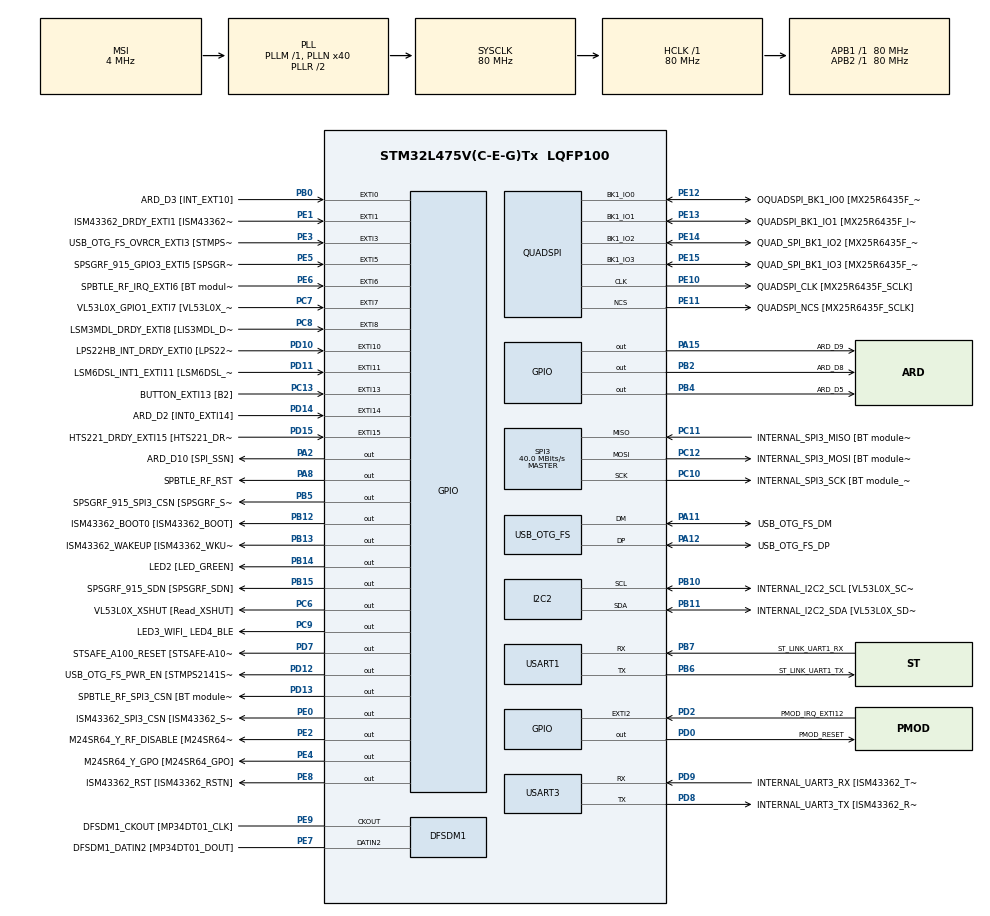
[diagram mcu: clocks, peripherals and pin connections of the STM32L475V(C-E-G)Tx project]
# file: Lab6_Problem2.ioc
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FREERTOS.Queues01=dmaQueue,512,uint16_t,0,Dynamic,NULL,NULL
FREERTOS.Tasks01=defaultTask,0,128,StartDefaultTask,Default,NULL,Dynamic,NULL,NULL;TaskPrint,2,512,StartTaskPrint,Default,NULL,Dynamic,NULL,NULL
Mcu.Family=STM32L4
Mcu.Name=STM32L475V(C-E-G)Tx
Mcu.Package=LQFP100
NVIC.EXTI15_10_IRQn=true\:5\:0\:false\:false\:true\:true\:true\:true\:true
NVIC.EXTI9_5_IRQn=true\:5\:0\:false\:false\:true\:true\:true\:true\:true
NVIC.PriorityGroup=NVIC_PRIORITYGROUP_4
PA0.GPIO_Label=ARD_D1 [UART4_TX]
PA0.Signal=UART4_TX
PA1.GPIO_Label=ARD_D0 [UART4_RX]
PA1.Signal=UART4_RX
PA10.GPIO_Label=USB_OTG_FS_ID
PA10.Signal=USB_OTG_FS_ID
PA11.GPIO_Label=USB_OTG_FS_DM
PA11.Mode=Device_Only
PA11.Signal=USB_OTG_FS_DM
PA12.GPIO_Label=USB_OTG_FS_DP
PA12.Mode=Device_Only
PA12.Signal=USB_OTG_FS_DP
PA13\ (JTMS-SWDIO).GPIO_Label=SYS_JTMS_SWDIO
PA13\ (JTMS-SWDIO).Mode=Serial_Wire
PA13\ (JTMS-SWDIO).Signal=SYS_JTMS-SWDIO
PA14\ (JTCK-SWCLK).GPIO_Label=SYS_JTCK_SWCLK
PA14\ (JTCK-SWCLK).Mode=Serial_Wire
PA14\ (JTCK-SWCLK).Signal=SYS_JTCK-SWCLK
PA15\ (JTDI).GPIO_Label=ARD_D9
PA15\ (JTDI).Signal=GPIO_Output
PA2.GPIO_Label=ARD_D10 [SPI_SSN]
PA2.Signal=GPIO_Output
PA3.GPIO_Label=ARD_D4
PA3.Signal=S_TIM2_CH4
PA4.GPIO_Label=ARD_D7
PA4.Signal=ADCx_IN9
PA5.GPIO_Label=ARD_D13 [SPI1_SCK]
PA5.Signal=SPI1_SCK
PA6.GPIO_Label=ARD_D12 [SPI1_MISO]
PA6.Signal=SPI1_MISO
PA7.GPIO_Label=ARD_D11 [SPI1_MOSI]
PA7.Signal=SPI1_MOSI
PA8.GPIO_Label=SPBTLE_RF_RST
PA8.Signal=GPIO_Output
PA9.GPIO_Label=USB_OTG_FS_VBUS [STMPS2141STR_OUT]
PA9.Signal=USB_OTG_FS_VBUS
PB0.GPIO_Label=ARD_D3 [INT_EXT10]
PB0.Signal=GPXTI0
PB1.GPIO_Label=ARD_D6 [ADC1_IN6]
PB1.Signal=ADCx_IN16
PB10.GPIO_Label=INTERNAL_I2C2_SCL [VL53L0X_SCL]
PB10.GPIO_Pu=GPIO_PULLUP
PB10.Mode=I2C
PB10.Signal=I2C2_SCL
PB11.GPIO_Label=INTERNAL_I2C2_SDA [VL53L0X_SDA]
PB11.GPIO_Pu=GPIO_PULLUP
PB11.Mode=I2C
PB11.Signal=I2C2_SDA
PB12.GPIO_Label=ISM43362_BOOT0 [ISM43362_BOOT]
PB12.Signal=GPIO_Output
PB13.GPIO_Label=ISM43362_WAKEUP [ISM43362_WKUP]
PB13.Signal=GPIO_Output
PB14.GPIO_Label=LED2 [LED_GREEN]
PB14.Signal=GPIO_Output
PB15.GPIO_Label=SPSGRF_915_SDN [SPSGRF_SDN]
PB15.Signal=GPIO_Output
PB2.GPIO_Label=ARD_D8
PB2.Signal=GPIO_Output
PB3\ (JTDO-TRACESWO).GPIO_Label=SYS_JTD0_SWO
PB3\ (JTDO-TRACESWO).Signal=SYS_JTDO-SWO
PB4\ (NJTRST).GPIO_Label=ARD_D5
PB4\ (NJTRST).Signal=GPIO_Output
PB5.GPIO_Label=SPSGRF_915_SPI3_CSN [SPSGRF_SPI_CS]
PB5.PinState=GPIO_PIN_SET
PB5.Signal=GPIO_Output
PB6.GPIO_Label=ST_LINK_UART1_TX
PB6.Mode=Asynchronous
PB6.Signal=USART1_TX
PB7.GPIO_Label=ST_LINK_UART1_RX
PB7.Mode=Asynchronous
PB7.Signal=USART1_RX
PB8.GPIO_Label=ARD_D15 [I2C1_SCL]
PB8.Signal=I2C1_SCL
PB9.GPIO_Label=ARD_D14 [I2C1_SDA]
PB9.Signal=I2C1_SDA
PC0.GPIO_Label=ARD_A5 [ADC]
PC0.Signal=ADCx_IN1
PC1.GPIO_Label=ARD_A4 [ADC]
PC1.Signal=ADCx_IN2
PC10.GPIO_Label=INTERNAL_SPI3_SCK [BT module_SPI_SCLK] [ISM43362_SCK]
PC10.Mode=Full_Duplex_Master
PC10.Signal=SPI3_SCK
PC11.GPIO_Label=INTERNAL_SPI3_MISO [BT module_SPI_MISO] [ISM43362_MISO]
PC11.Mode=Full_Duplex_Master
PC11.Signal=SPI3_MISO
PC12.GPIO_Label=INTERNAL_SPI3_MOSI [BT module_SPI_MOSI] [ISM43362_MOSI]
PC12.Mode=Full_Duplex_Master
PC12.Signal=SPI3_MOSI
PC13.GPIO_Label=BUTTON_EXTI13 [B2]
PC13.GPIO_ModeDefaultEXTI=GPIO_MODE_IT_FALLING
PC13.Signal=GPXTI13
PC14-OSC32_IN\ (PC14).Mode=LSE-External-Oscillator
PC14-OSC32_IN\ (PC14).Signal=RCC_OSC32_IN
PC15-OSC32_OUT\ (PC15).Mode=LSE-External-Oscillator
PC15-OSC32_OUT\ (PC15).Signal=RCC_OSC32_OUT
PC2.GPIO_Label=ARD_A3 [ADC]
PC2.Signal=ADCx_IN3
PC3.GPIO_Label=ARD_A2 [ADC]
PC3.Signal=ADCx_IN4
PC4.GPIO_Label=ARD_A1 [ADC]
PC4.Signal=ADCx_IN13
PC5.GPIO_Label=ARD_A0 [ADC]
PC5.Signal=ADCx_IN14
PC6.GPIO_Label=VL53L0X_XSHUT [Read_XSHUT]
PC6.Signal=GPIO_Output
PC7.GPIO_Label=VL53L0X_GPIO1_EXTI7 [VL53L0X_GPIO1]
PC7.Signal=GPXTI7
PC8.GPIO_Label=LSM3MDL_DRDY_EXTI8 [LIS3MDL_DRDY]
PC8.Signal=GPXTI8
PC9.GPIO_Label=LED3_WIFI_ LED4_BLE
PC9.Signal=GPIO_Output
PD0.GPIO_Label=PMOD_RESET
PD0.Signal=GPIO_Output
PD1.GPIO_Label=PMOD_SPI2_SCK
PD1.Signal=SPI2_SCK
PD10.GPIO_Label=LPS22HB_INT_DRDY_EXTI0 [LPS22HB_INT_DRDY] 
PD10.Signal=GPXTI10
PD11.GPIO_Label=LSM6DSL_INT1_EXTI11 [LSM6DSL_INT1]
PD11.Signal=GPXTI11
PD12.GPIO_Label=USB_OTG_FS_PWR_EN [STMPS2141STR_EN]
PD12.Signal=GPIO_Output
PD13.GPIO_Label=SPBTLE_RF_SPI3_CSN [BT module_SPI_CS]
PD13.PinState=GPIO_PIN_SET
PD13.Signal=GPIO_Output
PD14.GPIO_Label=ARD_D2 [INT0_EXTI14]
PD14.Signal=GPXTI14
PD15.GPIO_Label=HTS221_DRDY_EXTI15 [HTS221_DRDY]
PD15.Signal=GPXTI15
PD2.GPIO_Label=PMOD_IRQ_EXTI12
PD2.Signal=GPXTI2
PD3.GPIO_Label=PMOD_UART2_CTS
PD3.Signal=USART2_CTS
PD4.GPIO_Label=PMOD_UART2_RTS
PD4.Signal=USART2_RTS
PD5.GPIO_Label=PMOD_UART2_TX
PD5.Signal=USART2_TX
PD6.GPIO_Label=PMOD_UART2_RX
PD6.Signal=USART2_RX
PD7.GPIO_Label=STSAFE_A100_RESET [STSAFE-A100_RESET]
PD7.Signal=GPIO_Output
PD8.GPIO_Label=INTERNAL_UART3_TX [ISM43362_RX]
PD8.Mode=Asynchronous
PD8.Signal=USART3_TX
PD9.GPIO_Label=INTERNAL_UART3_RX [ISM43362_TX]
PD9.Mode=Asynchronous
PD9.Signal=USART3_RX
PE0.GPIO_Label=ISM43362_SPI3_CSN [ISM43362_SSN]
PE0.PinState=GPIO_PIN_SET
PE0.Signal=GPIO_Output
PE1.GPIO_Label=ISM43362_DRDY_EXTI1 [ISM43362_DATARDY]
PE1.Signal=GPXTI1
PE10.GPIO_Label=QUADSPI_CLK [MX25R6435F_SCLK]
PE10.Mode=Single Bank
PE10.Signal=QUADSPI_CLK
PE11.GPIO_Label=QUADSPI_NCS [MX25R6435F_SCLK]
PE11.Mode=Single Bank
PE11.Signal=QUADSPI_NCS
PE12.GPIO_Label=OQUADSPI_BK1_IO0 [MX25R6435F_IO0]
PE12.Mode=Single Bank
PE12.Signal=QUADSPI_BK1_IO0
PE13.GPIO_Label=QUADSPI_BK1_IO1 [MX25R6435F_IO1]
PE13.Mode=Single Bank
PE13.Signal=QUADSPI_BK1_IO1
PE14.GPIO_Label=QUAD_SPI_BK1_IO2 [MX25R6435F_IO2]
PE14.Mode=Single Bank
PE14.Signal=QUADSPI_BK1_IO2
PE15.GPIO_Label=QUAD_SPI_BK1_IO3 [MX25R6435F_IO3]
PE15.Mode=Single Bank
PE15.Signal=QUADSPI_BK1_IO3
PE2.GPIO_Label=M24SR64_Y_RF_DISABLE [M24SR64_RFDIS]
PE2.Signal=GPIO_Output
PE3.GPIO_Label=USB_OTG_FS_OVRCR_EXTI3 [STMPS2141STR_FAULT]
PE3.Signal=GPXTI3
PE4.GPIO_Label=M24SR64_Y_GPO [M24SR64_GPO]
PE4.Signal=GPIO_Output
PE5.GPIO_Label=SPSGRF_915_GPIO3_EXTI5 [SPSGRF_GPIO_3]
PE5.Signal=GPXTI5
PE6.GPIO_Label=SPBTLE_RF_IRQ_EXTI6 [BT module_SPI_IRQ]
PE6.Signal=GPXTI6
PE7.GPIO_Label=DFSDM1_DATIN2 [MP34DT01_DOUT]
PE7.Signal=S_DATAIN2DFSDM1
PE8.GPIO_Label=ISM43362_RST [ISM43362_RSTN]
PE8.Signal=GPIO_Output
PE9.GPIO_Label=DFSDM1_CKOUT [MP34DT01_CLK]
PE9.Signal=S_CKOUTDFSDM1
ProjectManager.HeapSize=0x200
ProjectManager.StackSize=0x400
ProjectManager.TargetToolchain=STM32CubeIDE
QUADSPI.ClockPrescaler=2
QUADSPI.FifoThreshold=4
QUADSPI.FlashSize=23
QUADSPI.SampleShifting=QSPI_SAMPLE_SHIFTING_HALFCYCLE
RCC.ADCFreq_Value=48000000
RCC.AHBFreq_Value=80000000
RCC.APB1Freq_Value=80000000
RCC.APB1TimFreq_Value=80000000
RCC.APB2Freq_Value=80000000
RCC.APB2TimFreq_Value=80000000
RCC.CortexFreq_Value=80000000
RCC.HCLKFreq_Value=80000000
RCC.HSE_VALUE=8000000
RCC.HSI_VALUE=16000000
RCC.MSI_VALUE=4000000
RCC.PLLN=40
RCC.PLLSAI1N=24
RCC.SYSCLKFreq_VALUE=80000000
RCC.SYSCLKSource=RCC_SYSCLKSOURCE_PLLCLK
RCC.USBFreq_Value=48000000
RCC.VCOOutputFreq_Value=160000000
SH.ADCx_IN1.0=ADC1_IN1
SH.ADCx_IN13.0=ADC1_IN13
SH.ADCx_IN14.0=ADC1_IN14
SH.ADCx_IN16.0=ADC1_IN16
SH.ADCx_IN2.0=ADC1_IN2
SH.ADCx_IN3.0=ADC1_IN3
SH.ADCx_IN4.0=ADC1_IN4
SH.ADCx_IN9.0=ADC1_IN9
SH.S_CKOUTDFSDM1.0=DFSDM1_CKOUT,CKOUT
SH.S_CKOUTDFSDM1.1=DFSDM1_CKOUT,PDM_SPI_Input_from_ch12_and_Internal_Clock
SH.S_DATAIN2DFSDM1.0=DFSDM1_DATIN2,PDM_SPI_Input_from_ch12_and_Internal_Clock
SH.S_TIM2_CH4.0=TIM2_CH4
SPI3.CalculateBaudRate=40.0 MBits/s
SPI3.Direction=SPI_DIRECTION_2LINES
SPI3.Mode=SPI_MODE_MASTER
SPI3.VirtualType=VM_MASTER
USART1.VirtualMode-Asynchronous=VM_ASYNC
USART3.VirtualMode-Asynchronous=VM_ASYNC
USB_OTG_FS.VirtualMode=Device_Only
VP_FREERTOS_VS_CMSIS_V1.Mode=CMSIS_V1
board=B-L475E-IOT01A1

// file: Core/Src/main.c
/* USER CODE BEGIN Header */
/**
  ******************************************************************************
  * @file           : main.c
  * @brief          : Main program body
  ******************************************************************************
  * @attention
  *
  * Copyright (c) 2025 STMicroelectronics.
  * All rights reserved.
  *
  * This software is licensed under terms that can be found in the LICENSE file
  * in the root directory of this software component.
  * If no LICENSE file comes with this software, it is provided AS-IS.
  *
  ******************************************************************************
  */
/* USER CODE END Header */
#include "main.h"
#include "cmsis_os.h"

/* USER CODE BEGIN Includes */
#include <stdio.h>
/* USER CODE END Includes */

DFSDM_Channel_HandleTypeDef hdfsdm1_channel1;

I2C_HandleTypeDef hi2c2;

QSPI_HandleTypeDef hqspi;

SPI_HandleTypeDef hspi3;

UART_HandleTypeDef huart1;
UART_HandleTypeDef huart3;

PCD_HandleTypeDef hpcd_USB_OTG_FS;

osThreadId defaultTaskHandle;
osThreadId TaskPrintHandle;
osMessageQId dmaQueueHandle;
/* USER CODE BEGIN PV */
TIM_HandleTypeDef htim1;
ADC_HandleTypeDef hadc1;
DMA_HandleTypeDef hdma1;

#define SAMPLE_BUFFER_SIZE  256
uint16_t sample_buffer[SAMPLE_BUFFER_SIZE];
/* USER CODE END PV */

void SystemClock_Config(void);
static void MX_GPIO_Init(void);
static void MX_DFSDM1_Init(void);
static void MX_I2C2_Init(void);
static void MX_QUADSPI_Init(void);
static void MX_SPI3_Init(void);
static void MX_USART1_UART_Init(void);
static void MX_USART3_UART_Init(void);
static void MX_USB_OTG_FS_PCD_Init(void);
void StartDefaultTask(void const * argument);
void StartTaskPrint(void const * argument);

/* USER CODE BEGIN 0 */
int __io_putchar(int ch) {
      HAL_UART_Transmit(&huart1, (uint8_t*) &ch, 1, 0xFFFF);
      return ch;
}

void HAL_ADC_MspInit(ADC_HandleTypeDef* hadc)
{
    if(hadc->Instance == ADC1)
    {
        /* Peripheral clock enable */
        __HAL_RCC_ADC_CLK_ENABLE();
    }

}

void HAL_ADC_MspDeInit(ADC_HandleTypeDef* hadc)
{
    if(hadc->Instance==ADC1)
    {
        /* Peripheral clock disable */
        __HAL_RCC_ADC_CLK_DISABLE();
    }

}

void ADC1_Init(void)
{
    ADC_MultiModeTypeDef multimode = {0};
    ADC_ChannelConfTypeDef sConfig = {0};

  /** Common config
  */
    hadc1.Instance = ADC1;
    hadc1.Init.ClockPrescaler = ADC_CLOCK_SYNC_PCLK_DIV4;//ADC_CLOCK_ASYNC_DIV1;
    hadc1.Init.Resolution = ADC_RESOLUTION_12B;
    hadc1.Init.DataAlign = ADC_DATAALIGN_RIGHT;
    hadc1.Init.ScanConvMode = ADC_SCAN_DISABLE;
    hadc1.Init.EOCSelection = ADC_EOC_SINGLE_CONV;
    hadc1.Init.LowPowerAutoWait = DISABLE;
    hadc1.Init.ContinuousConvMode = DISABLE;
    hadc1.Init.NbrOfConversion = 1;
    hadc1.Init.DiscontinuousConvMode = DISABLE;
    hadc1.Init.ExternalTrigConv = ADC_EXTERNALTRIG_T1_TRGO;
    hadc1.Init.ExternalTrigConvEdge = ADC_EXTERNALTRIGCONVEDGE_RISING;
    hadc1.Init.DMAContinuousRequests = DISABLE;
    hadc1.Init.Overrun = ADC_OVR_DATA_PRESERVED;
    hadc1.Init.OversamplingMode = DISABLE;
    if (HAL_ADC_Init(&hadc1) != HAL_OK)
    {
        Error_Handler();
    }

    if (HAL_ADCEx_Calibration_Start(&hadc1, ADC_SINGLE_ENDED) != HAL_OK)
    {
        Error_Handler();
    }

  /** Configure the ADC multi-mode
  */
    multimode.Mode = ADC_MODE_INDEPENDENT;
    if (HAL_ADCEx_MultiModeConfigChannel(&hadc1, &multimode) != HAL_OK)
    {
        Error_Handler();
    }

  /** Configure Regular Channel
  */
    sConfig.Channel = ADC_CHANNEL_TEMPSENSOR;
    sConfig.Rank = ADC_REGULAR_RANK_1;
    sConfig.SamplingTime = ADC_SAMPLETIME_2CYCLES_5;//ADC_SAMPLETIME_247CYCLES_5;
    sConfig.SingleDiff = ADC_SINGLE_ENDED;
    sConfig.OffsetNumber = ADC_OFFSET_NONE;
    sConfig.Offset = 0;
    if (HAL_ADC_ConfigChannel(&hadc1, &sConfig) != HAL_OK)
    {
        Error_Handler();
    }

}

void HAL_ADC_ConvCpltCallback(ADC_HandleTypeDef *hadc) // DMA interrupt handler function
{
    // Process second half of buffer (sample_buffer[128] to [255])
    // Send a marker value to indicate bottom half start

	int i;
    osStatus status = osMessagePut(dmaQueueHandle, 0xB000, 0); // 'B' for Bottom half marker
    if (status != osOK) {
        printf("Failed to put test message: %d\r\n", status);
    }

    for (i = SAMPLE_BUFFER_SIZE/2; i < SAMPLE_BUFFER_SIZE; i++) {
        // Put each sample into the queue
        osMessagePut(dmaQueueHandle, (uint32_t)sample_buffer[i], 0);
    }
}

void HAL_ADC_ConvHalfCpltCallback(ADC_HandleTypeDef *hadc)
{
//    Process first half of buffer (sample_buffer[0] to [127])
//    Send a marker value to indicate top half start

	int i;
    osStatus status = osMessagePut(dmaQueueHandle, 0xA000, 0); // 'A' for Top half marker
	if (status != osOK) {
		printf("Failed to put test message: %d\r\n", status);
	}

    for (i = 0; i < SAMPLE_BUFFER_SIZE/2; i++) {
        // Put each sample into the queue
        osMessagePut(dmaQueueHandle, (uint32_t)sample_buffer[i], 0);
    }
}

void DMA1_Channel1_IRQHandler(void)
{
    SET_BIT(hadc1.Instance->CFGR, ADC_CFGR_DMACFG);
    HAL_DMA_IRQHandler(&hdma1);
}

void ADC1_DMA1CH1_init()
{
    __HAL_RCC_DMA1_CLK_ENABLE();

    hdma1.Instance = DMA1_Channel1;
    hdma1.Init.Direction = DMA_PERIPH_TO_MEMORY;
    hdma1.Init.PeriphInc = DMA_PINC_DISABLE;
    hdma1.Init.MemInc = DMA_MINC_ENABLE;
    hdma1.Init.PeriphDataAlignment = DMA_PDATAALIGN_HALFWORD;
    hdma1.Init.MemDataAlignment = DMA_MDATAALIGN_HALFWORD;
    hdma1.Init.Mode = DMA_CIRCULAR;
    hdma1.Init.Priority = DMA_PRIORITY_LOW; // modified

    if (HAL_DMA_Init(&hdma1) != HAL_OK)
    {
        Error_Handler();
    }

    __HAL_LINKDMA(&hadc1, DMA_Handle, hdma1);

    ADC1_Init();

    NVIC_SetVector(DMA1_Channel1_IRQn, (uint32_t)&DMA1_Channel1_IRQHandler);
    HAL_NVIC_SetPriority(DMA1_Channel1_IRQn, 6, 0); // modified
    HAL_NVIC_EnableIRQ(DMA1_Channel1_IRQn);
}

void HAL_TIM_Base_MspInit(TIM_HandleTypeDef* htim_base)
{
    if(htim_base->Instance == TIM1)
    {
        __HAL_RCC_TIM1_CLK_ENABLE();
    }
}

void HAL_TIM_Base_MspDeInit(TIM_HandleTypeDef* htim_base)
{
    if(htim_base->Instance == TIM1)
    {
        __HAL_RCC_TIM1_CLK_DISABLE();
    }
}

static void TIM1_Init(void)
{
    TIM_ClockConfigTypeDef sClockSourceConfig = {0};
    TIM_MasterConfigTypeDef sMasterConfig = {0};

    htim1.Instance = TIM1;
    htim1.Init.Prescaler = 999;
    htim1.Init.CounterMode = TIM_COUNTERMODE_UP;
    htim1.Init.Period = 999;
    htim1.Init.ClockDivision = TIM_CLOCKDIVISION_DIV1;
    htim1.Init.AutoReloadPreload = TIM_AUTORELOAD_PRELOAD_DISABLE;
    if (HAL_TIM_Base_Init(&htim1) != HAL_OK)
    {
        Error_Handler();
    }
    sClockSourceConfig.ClockSource = TIM_CLOCKSOURCE_INTERNAL;
    if (HAL_TIM_ConfigClockSource(&htim1, &sClockSourceConfig) != HAL_OK)
    {
        Error_Handler();
    }
    sMasterConfig.MasterOutputTrigger = TIM_TRGO_UPDATE;
    sMasterConfig.MasterSlaveMode = TIM_MASTERSLAVEMODE_DISABLE;
    if (HAL_TIMEx_MasterConfigSynchronization(&htim1, &sMasterConfig) != HAL_OK)
    {
        Error_Handler();
    }
}

/* USER CODE END 0 */

int main(void)
{

  /* MCU Configuration--------------------------------------------------------*/

  /* Reset of all peripherals, Initializes the Flash interface and the Systick. */
  HAL_Init();

  /* Configure the system clock */
  SystemClock_Config();

  /* Initialize all configured peripherals */
  MX_GPIO_Init();
  MX_DFSDM1_Init();
  MX_I2C2_Init();
  MX_QUADSPI_Init();
  MX_SPI3_Init();
  MX_USART1_UART_Init();
  MX_USART3_UART_Init();
  MX_USB_OTG_FS_PCD_Init();
  /* USER CODE BEGIN 2 */

  TIM1_Init();
  ADC1_DMA1CH1_init();

  HAL_ADC_Start_DMA(&hadc1, (uint32_t *)&sample_buffer[0], SAMPLE_BUFFER_SIZE);
  HAL_TIM_Base_Start_IT(&htim1);

  /* USER CODE END 2 */

  /* Create the queue(s) */
  /* definition and creation of dmaQueue */
  osMessageQDef(dmaQueue, 512, uint16_t);
  dmaQueueHandle = osMessageCreate(osMessageQ(dmaQueue), NULL);
  printf("Initialized queue.\n");

  /* Create the thread(s) */
  /* definition and creation of defaultTask */
  osThreadDef(defaultTask, StartDefaultTask, osPriorityNormal, 0, 128);
  defaultTaskHandle = osThreadCreate(osThread(defaultTask), NULL);

  /* definition and creation of TaskPrint */
  osThreadDef(TaskPrint, StartTaskPrint, osPriorityHigh, 0, 128);
  TaskPrintHandle = osThreadCreate(osThread(TaskPrint), NULL);

  /* Start scheduler */
  osKernelStart();

  /* We should never get here as control is now taken by the scheduler */

  /* Infinite loop */
  while (1)
  {

  }
}

void SystemClock_Config(void)
{
  RCC_OscInitTypeDef RCC_OscInitStruct = {0};
  RCC_ClkInitTypeDef RCC_ClkInitStruct = {0};

  /** Configure the main internal regulator output voltage
  */
  if (HAL_PWREx_ControlVoltageScaling(PWR_REGULATOR_VOLTAGE_SCALE1) != HAL_OK)
  {
    Error_Handler();
  }

  /** Configure LSE Drive Capability
  */
  HAL_PWR_EnableBkUpAccess();
  __HAL_RCC_LSEDRIVE_CONFIG(RCC_LSEDRIVE_LOW);

  /** Initializes the RCC Oscillators according to the specified parameters
  * in the RCC_OscInitTypeDef structure.
  */
  RCC_OscInitStruct.OscillatorType = RCC_OSCILLATORTYPE_LSE|RCC_OSCILLATORTYPE_MSI;
  RCC_OscInitStruct.LSEState = RCC_LSE_ON;
  RCC_OscInitStruct.MSIState = RCC_MSI_ON;
  RCC_OscInitStruct.MSICalibrationValue = 0;
  RCC_OscInitStruct.MSIClockRange = RCC_MSIRANGE_6;
  RCC_OscInitStruct.PLL.PLLState = RCC_PLL_ON;
  RCC_OscInitStruct.PLL.PLLSource = RCC_PLLSOURCE_MSI;
  RCC_OscInitStruct.PLL.PLLM = 1;
  RCC_OscInitStruct.PLL.PLLN = 40;
  RCC_OscInitStruct.PLL.PLLP = RCC_PLLP_DIV7;
  RCC_OscInitStruct.PLL.PLLQ = RCC_PLLQ_DIV2;
  RCC_OscInitStruct.PLL.PLLR = RCC_PLLR_DIV2;
  if (HAL_RCC_OscConfig(&RCC_OscInitStruct) != HAL_OK)
  {
    Error_Handler();
  }

  /** Initializes the CPU, AHB and APB buses clocks
  */
  RCC_ClkInitStruct.ClockType = RCC_CLOCKTYPE_HCLK|RCC_CLOCKTYPE_SYSCLK
                              |RCC_CLOCKTYPE_PCLK1|RCC_CLOCKTYPE_PCLK2;
  RCC_ClkInitStruct.SYSCLKSource = RCC_SYSCLKSOURCE_PLLCLK;
  RCC_ClkInitStruct.AHBCLKDivider = RCC_SYSCLK_DIV1;
  RCC_ClkInitStruct.APB1CLKDivider = RCC_HCLK_DIV1;
  RCC_ClkInitStruct.APB2CLKDivider = RCC_HCLK_DIV1;

  if (HAL_RCC_ClockConfig(&RCC_ClkInitStruct, FLASH_LATENCY_4) != HAL_OK)
  {
    Error_Handler();
  }

  /** Enable MSI Auto calibration
  */
  HAL_RCCEx_EnableMSIPLLMode();
}

static void MX_DFSDM1_Init(void)
{

  hdfsdm1_channel1.Instance = DFSDM1_Channel1;
  hdfsdm1_channel1.Init.OutputClock.Activation = ENABLE;
  hdfsdm1_channel1.Init.OutputClock.Selection = DFSDM_CHANNEL_OUTPUT_CLOCK_SYSTEM;
  hdfsdm1_channel1.Init.OutputClock.Divider = 2;
  hdfsdm1_channel1.Init.Input.Multiplexer = DFSDM_CHANNEL_EXTERNAL_INPUTS;
  hdfsdm1_channel1.Init.Input.DataPacking = DFSDM_CHANNEL_STANDARD_MODE;
  hdfsdm1_channel1.Init.Input.Pins = DFSDM_CHANNEL_FOLLOWING_CHANNEL_PINS;
  hdfsdm1_channel1.Init.SerialInterface.Type = DFSDM_CHANNEL_SPI_RISING;
  hdfsdm1_channel1.Init.SerialInterface.SpiClock = DFSDM_CHANNEL_SPI_CLOCK_INTERNAL;
  hdfsdm1_channel1.Init.Awd.FilterOrder = DFSDM_CHANNEL_FASTSINC_ORDER;
  hdfsdm1_channel1.Init.Awd.Oversampling = 1;
  hdfsdm1_channel1.Init.Offset = 0;
  hdfsdm1_channel1.Init.RightBitShift = 0x00;
  if (HAL_DFSDM_ChannelInit(&hdfsdm1_channel1) != HAL_OK)
  {
    Error_Handler();
  }

}

static void MX_I2C2_Init(void)
{

  hi2c2.Instance = I2C2;
  hi2c2.Init.Timing = 0x00000E14;
  hi2c2.Init.OwnAddress1 = 0;
  hi2c2.Init.AddressingMode = I2C_ADDRESSINGMODE_7BIT;
  hi2c2.Init.DualAddressMode = I2C_DUALADDRESS_DISABLE;
  hi2c2.Init.OwnAddress2 = 0;
  hi2c2.Init.OwnAddress2Masks = I2C_OA2_NOMASK;
  hi2c2.Init.GeneralCallMode = I2C_GENERALCALL_DISABLE;
  hi2c2.Init.NoStretchMode = I2C_NOSTRETCH_DISABLE;
  if (HAL_I2C_Init(&hi2c2) != HAL_OK)
  {
    Error_Handler();
  }

  /** Configure Analogue filter
  */
  if (HAL_I2CEx_ConfigAnalogFilter(&hi2c2, I2C_ANALOGFILTER_ENABLE) != HAL_OK)
  {
    Error_Handler();
  }

  /** Configure Digital filter
  */
  if (HAL_I2CEx_ConfigDigitalFilter(&hi2c2, 0) != HAL_OK)
  {
    Error_Handler();
  }

}

static void MX_QUADSPI_Init(void)
{

  /* QUADSPI parameter configuration*/
  hqspi.Instance = QUADSPI;
  hqspi.Init.ClockPrescaler = 2;
  hqspi.Init.FifoThreshold = 4;
  hqspi.Init.SampleShifting = QSPI_SAMPLE_SHIFTING_HALFCYCLE;
  hqspi.Init.FlashSize = 23;
  hqspi.Init.ChipSelectHighTime = QSPI_CS_HIGH_TIME_1_CYCLE;
  hqspi.Init.ClockMode = QSPI_CLOCK_MODE_0;
  if (HAL_QSPI_Init(&hqspi) != HAL_OK)
  {
    Error_Handler();
  }

}

static void MX_SPI3_Init(void)
{

  /* SPI3 parameter configuration*/
  hspi3.Instance = SPI3;
  hspi3.Init.Mode = SPI_MODE_MASTER;
  hspi3.Init.Direction = SPI_DIRECTION_2LINES;
  hspi3.Init.DataSize = SPI_DATASIZE_4BIT;
  hspi3.Init.CLKPolarity = SPI_POLARITY_LOW;
  hspi3.Init.CLKPhase = SPI_PHASE_1EDGE;
  hspi3.Init.NSS = SPI_NSS_SOFT;
  hspi3.Init.BaudRatePrescaler = SPI_BAUDRATEPRESCALER_2;
  hspi3.Init.FirstBit = SPI_FIRSTBIT_MSB;
  hspi3.Init.TIMode = SPI_TIMODE_DISABLE;
  hspi3.Init.CRCCalculation = SPI_CRCCALCULATION_DISABLE;
  hspi3.Init.CRCPolynomial = 7;
  hspi3.Init.CRCLength = SPI_CRC_LENGTH_DATASIZE;
  hspi3.Init.NSSPMode = SPI_NSS_PULSE_ENABLE;
  if (HAL_SPI_Init(&hspi3) != HAL_OK)
  {
    Error_Handler();
  }

}

static void MX_USART1_UART_Init(void)
{

  huart1.Instance = USART1;
  huart1.Init.BaudRate = 115200;
  huart1.Init.WordLength = UART_WORDLENGTH_8B;
  huart1.Init.StopBits = UART_STOPBITS_1;
  huart1.Init.Parity = UART_PARITY_NONE;
  huart1.Init.Mode = UART_MODE_TX_RX;
  huart1.Init.HwFlowCtl = UART_HWCONTROL_NONE;
  huart1.Init.OverSampling = UART_OVERSAMPLING_16;
  huart1.Init.OneBitSampling = UART_ONE_BIT_SAMPLE_DISABLE;
  huart1.AdvancedInit.AdvFeatureInit = UART_ADVFEATURE_NO_INIT;
  if (HAL_UART_Init(&huart1) != HAL_OK)
  {
    Error_Handler();
  }

}

static void MX_USART3_UART_Init(void)
{

  huart3.Instance = USART3;
  huart3.Init.BaudRate = 115200;
  huart3.Init.WordLength = UART_WORDLENGTH_8B;
  huart3.Init.StopBits = UART_STOPBITS_1;
  huart3.Init.Parity = UART_PARITY_NONE;
  huart3.Init.Mode = UART_MODE_TX_RX;
  huart3.Init.HwFlowCtl = UART_HWCONTROL_NONE;
  huart3.Init.OverSampling = UART_OVERSAMPLING_16;
  huart3.Init.OneBitSampling = UART_ONE_BIT_SAMPLE_DISABLE;
  huart3.AdvancedInit.AdvFeatureInit = UART_ADVFEATURE_NO_INIT;
  if (HAL_UART_Init(&huart3) != HAL_OK)
  {
    Error_Handler();
  }

}

static void MX_USB_OTG_FS_PCD_Init(void)
{

  hpcd_USB_OTG_FS.Instance = USB_OTG_FS;
  hpcd_USB_OTG_FS.Init.dev_endpoints = 6;
  hpcd_USB_OTG_FS.Init.speed = PCD_SPEED_FULL;
  hpcd_USB_OTG_FS.Init.phy_itface = PCD_PHY_EMBEDDED;
  hpcd_USB_OTG_FS.Init.Sof_enable = DISABLE;
  hpcd_USB_OTG_FS.Init.low_power_enable = DISABLE;
  hpcd_USB_OTG_FS.Init.lpm_enable = DISABLE;
  hpcd_USB_OTG_FS.Init.battery_charging_enable = DISABLE;
  hpcd_USB_OTG_FS.Init.use_dedicated_ep1 = DISABLE;
  hpcd_USB_OTG_FS.Init.vbus_sensing_enable = DISABLE;
  if (HAL_PCD_Init(&hpcd_USB_OTG_FS) != HAL_OK)
  {
    Error_Handler();
  }

}

static void MX_GPIO_Init(void)
{
  GPIO_InitTypeDef GPIO_InitStruct = {0};

  /* GPIO Ports Clock Enable */
  __HAL_RCC_GPIOE_CLK_ENABLE();
  __HAL_RCC_GPIOC_CLK_ENABLE();
  __HAL_RCC_GPIOA_CLK_ENABLE();
  __HAL_RCC_GPIOB_CLK_ENABLE();
  __HAL_RCC_GPIOD_CLK_ENABLE();

  /*Configure GPIO pin Output Level */
  HAL_GPIO_WritePin(GPIOE, M24SR64_Y_RF_DISABLE_Pin|M24SR64_Y_GPO_Pin|ISM43362_RST_Pin, GPIO_PIN_RESET);

  /*Configure GPIO pin Output Level */
  HAL_GPIO_WritePin(GPIOA, ARD_D10_Pin|SPBTLE_RF_RST_Pin|ARD_D9_Pin, GPIO_PIN_RESET);

  /*Configure GPIO pin Output Level */
  HAL_GPIO_WritePin(GPIOB, ARD_D8_Pin|ISM43362_BOOT0_Pin|ISM43362_WAKEUP_Pin|LED2_Pin
                          |SPSGRF_915_SDN_Pin|ARD_D5_Pin, GPIO_PIN_RESET);

  /*Configure GPIO pin Output Level */
  HAL_GPIO_WritePin(GPIOD, USB_OTG_FS_PWR_EN_Pin|PMOD_RESET_Pin|STSAFE_A100_RESET_Pin, GPIO_PIN_RESET);

  /*Configure GPIO pin Output Level */
  HAL_GPIO_WritePin(SPBTLE_RF_SPI3_CSN_GPIO_Port, SPBTLE_RF_SPI3_CSN_Pin, GPIO_PIN_SET);

  /*Configure GPIO pin Output Level */
  HAL_GPIO_WritePin(GPIOC, VL53L0X_XSHUT_Pin|LED3_WIFI__LED4_BLE_Pin, GPIO_PIN_RESET);

  /*Configure GPIO pin Output Level */
  HAL_GPIO_WritePin(SPSGRF_915_SPI3_CSN_GPIO_Port, SPSGRF_915_SPI3_CSN_Pin, GPIO_PIN_SET);

  /*Configure GPIO pin Output Level */
  HAL_GPIO_WritePin(ISM43362_SPI3_CSN_GPIO_Port, ISM43362_SPI3_CSN_Pin, GPIO_PIN_SET);

  /*Configure GPIO pins : M24SR64_Y_RF_DISABLE_Pin M24SR64_Y_GPO_Pin ISM43362_RST_Pin ISM43362_SPI3_CSN_Pin */
  GPIO_InitStruct.Pin = M24SR64_Y_RF_DISABLE_Pin|M24SR64_Y_GPO_Pin|ISM43362_RST_Pin|ISM43362_SPI3_CSN_Pin;
  GPIO_InitStruct.Mode = GPIO_MODE_OUTPUT_PP;
  GPIO_InitStruct.Pull = GPIO_NOPULL;
  GPIO_InitStruct.Speed = GPIO_SPEED_FREQ_LOW;
  HAL_GPIO_Init(GPIOE, &GPIO_InitStruct);

  /*Configure GPIO pins : USB_OTG_FS_OVRCR_EXTI3_Pin SPSGRF_915_GPIO3_EXTI5_Pin SPBTLE_RF_IRQ_EXTI6_Pin ISM43362_DRDY_EXTI1_Pin */
  GPIO_InitStruct.Pin = USB_OTG_FS_OVRCR_EXTI3_Pin|SPSGRF_915_GPIO3_EXTI5_Pin|SPBTLE_RF_IRQ_EXTI6_Pin|ISM43362_DRDY_EXTI1_Pin;
  GPIO_InitStruct.Mode = GPIO_MODE_IT_RISING;
  GPIO_InitStruct.Pull = GPIO_NOPULL;
  HAL_GPIO_Init(GPIOE, &GPIO_InitStruct);

  /*Configure GPIO pin : BUTTON_EXTI13_Pin */
  GPIO_InitStruct.Pin = BUTTON_EXTI13_Pin;
  GPIO_InitStruct.Mode = GPIO_MODE_IT_FALLING;
  GPIO_InitStruct.Pull = GPIO_NOPULL;
  HAL_GPIO_Init(BUTTON_EXTI13_GPIO_Port, &GPIO_InitStruct);

  /*Configure GPIO pins : ARD_A5_Pin ARD_A4_Pin ARD_A3_Pin ARD_A2_Pin
                           ARD_A1_Pin ARD_A0_Pin */
  GPIO_InitStruct.Pin = ARD_A5_Pin|ARD_A4_Pin|ARD_A3_Pin|ARD_A2_Pin
                          |ARD_A1_Pin|ARD_A0_Pin;
  GPIO_InitStruct.Mode = GPIO_MODE_ANALOG_ADC_CONTROL;
  GPIO_InitStruct.Pull = GPIO_NOPULL;
  HAL_GPIO_Init(GPIOC, &GPIO_InitStruct);

  /*Configure GPIO pins : ARD_D1_Pin ARD_D0_Pin */
  GPIO_InitStruct.Pin = ARD_D1_Pin|ARD_D0_Pin;
  GPIO_InitStruct.Mode = GPIO_MODE_AF_PP;
  GPIO_InitStruct.Pull = GPIO_NOPULL;
  GPIO_InitStruct.Speed = GPIO_SPEED_FREQ_VERY_HIGH;
  GPIO_InitStruct.Alternate = GPIO_AF8_UART4;
  HAL_GPIO_Init(GPIOA, &GPIO_InitStruct);

  /*Configure GPIO pins : ARD_D10_Pin SPBTLE_RF_RST_Pin ARD_D9_Pin */
  GPIO_InitStruct.Pin = ARD_D10_Pin|SPBTLE_RF_RST_Pin|ARD_D9_Pin;
  GPIO_InitStruct.Mode = GPIO_MODE_OUTPUT_PP;
  GPIO_InitStruct.Pull = GPIO_NOPULL;
  GPIO_InitStruct.Speed = GPIO_SPEED_FREQ_LOW;
  HAL_GPIO_Init(GPIOA, &GPIO_InitStruct);

  /*Configure GPIO pin : ARD_D4_Pin */
  GPIO_InitStruct.Pin = ARD_D4_Pin;
  GPIO_InitStruct.Mode = GPIO_MODE_AF_PP;
  GPIO_InitStruct.Pull = GPIO_NOPULL;
  GPIO_InitStruct.Speed = GPIO_SPEED_FREQ_LOW;
  GPIO_InitStruct.Alternate = GPIO_AF1_TIM2;
  HAL_GPIO_Init(ARD_D4_GPIO_Port, &GPIO_InitStruct);

  /*Configure GPIO pin : ARD_D7_Pin */
  GPIO_InitStruct.Pin = ARD_D7_Pin;
  GPIO_InitStruct.Mode = GPIO_MODE_ANALOG_ADC_CONTROL;
  GPIO_InitStruct.Pull = GPIO_NOPULL;
  HAL_GPIO_Init(ARD_D7_GPIO_Port, &GPIO_InitStruct);

  /*Configure GPIO pins : ARD_D13_Pin ARD_D12_Pin ARD_D11_Pin */
  GPIO_InitStruct.Pin = ARD_D13_Pin|ARD_D12_Pin|ARD_D11_Pin;
  GPIO_InitStruct.Mode = GPIO_MODE_AF_PP;
  GPIO_InitStruct.Pull = GPIO_NOPULL;
  GPIO_InitStruct.Speed = GPIO_SPEED_FREQ_VERY_HIGH;
  GPIO_InitStruct.Alternate = GPIO_AF5_SPI1;
  HAL_GPIO_Init(GPIOA, &GPIO_InitStruct);

  /*Configure GPIO pin : ARD_D3_Pin */
  GPIO_InitStruct.Pin = ARD_D3_Pin;
  GPIO_InitStruct.Mode = GPIO_MODE_IT_RISING;
  GPIO_InitStruct.Pull = GPIO_NOPULL;
  HAL_GPIO_Init(ARD_D3_GPIO_Port, &GPIO_InitStruct);

  /*Configure GPIO pin : ARD_D6_Pin */
  GPIO_InitStruct.Pin = ARD_D6_Pin;
  GPIO_InitStruct.Mode = GPIO_MODE_ANALOG_ADC_CONTROL;
  GPIO_InitStruct.Pull = GPIO_NOPULL;
  HAL_GPIO_Init(ARD_D6_GPIO_Port, &GPIO_InitStruct);

  /*Configure GPIO pins : ARD_D8_Pin ISM43362_BOOT0_Pin ISM43362_WAKEUP_Pin LED2_Pin
                           SPSGRF_915_SDN_Pin ARD_D5_Pin SPSGRF_915_SPI3_CSN_Pin */
  GPIO_InitStruct.Pin = ARD_D8_Pin|ISM43362_BOOT0_Pin|ISM43362_WAKEUP_Pin|LED2_Pin
                          |SPSGRF_915_SDN_Pin|ARD_D5_Pin|SPSGRF_915_SPI3_CSN_Pin;
  GPIO_InitStruct.Mode = GPIO_MODE_OUTPUT_PP;
  GPIO_InitStruct.Pull = GPIO_NOPULL;
  GPIO_InitStruct.Speed = GPIO_SPEED_FREQ_LOW;
  HAL_GPIO_Init(GPIOB, &GPIO_InitStruct);

  /*Configure GPIO pins : LPS22HB_INT_DRDY_EXTI0_Pin LSM6DSL_INT1_EXTI11_Pin ARD_D2_Pin HTS221_DRDY_EXTI15_Pin
                           PMOD_IRQ_EXTI12_Pin */
  GPIO_InitStruct.Pin = LPS22HB_INT_DRDY_EXTI0_Pin|LSM6DSL_INT1_EXTI11_Pin|ARD_D2_Pin|HTS221_DRDY_EXTI15_Pin
                          |PMOD_IRQ_EXTI12_Pin;
  GPIO_InitStruct.Mode = GPIO_MODE_IT_RISING;
  GPIO_InitStruct.Pull = GPIO_NOPULL;
  HAL_GPIO_Init(GPIOD, &GPIO_InitStruct);

  /*Configure GPIO pins : USB_OTG_FS_PWR_EN_Pin SPBTLE_RF_SPI3_CSN_Pin PMOD_RESET_Pin STSAFE_A100_RESET_Pin */
  GPIO_InitStruct.Pin = USB_OTG_FS_PWR_EN_Pin|SPBTLE_RF_SPI3_CSN_Pin|PMOD_RESET_Pin|STSAFE_A100_RESET_Pin;
  GPIO_InitStruct.Mode = GPIO_MODE_OUTPUT_PP;
  GPIO_InitStruct.Pull = GPIO_NOPULL;
  GPIO_InitStruct.Speed = GPIO_SPEED_FREQ_LOW;
  HAL_GPIO_Init(GPIOD, &GPIO_InitStruct);

  /*Configure GPIO pins : VL53L0X_XSHUT_Pin LED3_WIFI__LED4_BLE_Pin */
  GPIO_InitStruct.Pin = VL53L0X_XSHUT_Pin|LED3_WIFI__LED4_BLE_Pin;
  GPIO_InitStruct.Mode = GPIO_MODE_OUTPUT_PP;
  GPIO_InitStruct.Pull = GPIO_NOPULL;
  GPIO_InitStruct.Speed = GPIO_SPEED_FREQ_LOW;
  HAL_GPIO_Init(GPIOC, &GPIO_InitStruct);

  /*Configure GPIO pins : VL53L0X_GPIO1_EXTI7_Pin LSM3MDL_DRDY_EXTI8_Pin */
  GPIO_InitStruct.Pin = VL53L0X_GPIO1_EXTI7_Pin|LSM3MDL_DRDY_EXTI8_Pin;
  GPIO_InitStruct.Mode = GPIO_MODE_IT_RISING;
  GPIO_InitStruct.Pull = GPIO_NOPULL;
  HAL_GPIO_Init(GPIOC, &GPIO_InitStruct);

  /*Configure GPIO pin : PMOD_SPI2_SCK_Pin */
  GPIO_InitStruct.Pin = PMOD_SPI2_SCK_Pin;
  GPIO_InitStruct.Mode = GPIO_MODE_AF_PP;
  GPIO_InitStruct.Pull = GPIO_NOPULL;
  GPIO_InitStruct.Speed = GPIO_SPEED_FREQ_VERY_HIGH;
  GPIO_InitStruct.Alternate = GPIO_AF5_SPI2;
  HAL_GPIO_Init(PMOD_SPI2_SCK_GPIO_Port, &GPIO_InitStruct);

  /*Configure GPIO pins : PMOD_UART2_CTS_Pin PMOD_UART2_RTS_Pin PMOD_UART2_TX_Pin PMOD_UART2_RX_Pin */
  GPIO_InitStruct.Pin = PMOD_UART2_CTS_Pin|PMOD_UART2_RTS_Pin|PMOD_UART2_TX_Pin|PMOD_UART2_RX_Pin;
  GPIO_InitStruct.Mode = GPIO_MODE_AF_PP;
  GPIO_InitStruct.Pull = GPIO_NOPULL;
  GPIO_InitStruct.Speed = GPIO_SPEED_FREQ_VERY_HIGH;
  GPIO_InitStruct.Alternate = GPIO_AF7_USART2;
  HAL_GPIO_Init(GPIOD, &GPIO_InitStruct);

  /*Configure GPIO pins : ARD_D15_Pin ARD_D14_Pin */
  GPIO_InitStruct.Pin = ARD_D15_Pin|ARD_D14_Pin;
  GPIO_InitStruct.Mode = GPIO_MODE_AF_OD;
  GPIO_InitStruct.Pull = GPIO_NOPULL;
  GPIO_InitStruct.Speed = GPIO_SPEED_FREQ_VERY_HIGH;
  GPIO_InitStruct.Alternate = GPIO_AF4_I2C1;
  HAL_GPIO_Init(GPIOB, &GPIO_InitStruct);

  /* EXTI interrupt init*/
  HAL_NVIC_SetPriority(EXTI9_5_IRQn, 5, 0);
  HAL_NVIC_EnableIRQ(EXTI9_5_IRQn);

  HAL_NVIC_SetPriority(EXTI15_10_IRQn, 5, 0);
  HAL_NVIC_EnableIRQ(EXTI15_10_IRQn);

}

void StartDefaultTask(void const * argument)
{
  /* USER CODE BEGIN 5 */
  /* Infinite loop */

    /* Infinite loop */
    for(;;)
    {
//      printf("Default\n");
      osDelay(1000);
    }
  /* USER CODE END 5 */
}

void StartTaskPrint(void const * argument)
{
    /* USER CODE BEGIN StartTaskPrint */
	  /* Infinite loop */
	    osEvent event;
	    uint16_t receivedAdcValue;

	    /* Infinite loop */
	    for(;;)
	    {
	        event = osMessageGet(dmaQueueHandle, osWaitForever);
	        if (event.status == osEventMessage)
	        {
	            receivedAdcValue = (uint16_t)event.value.v;
	            // Check if this is a marker value
	            if (receivedAdcValue == 0xA000) {
	                printf("\r\n----- BUFFER TOP HALF -----\r\n");
	            }
	            else if (receivedAdcValue == 0xB000) {
	                printf("\r\n----- BUFFER BOTTOM HALF -----\r\n");
	            }
	            else {
	                // Regular ADC value, print with buffer half indicator
	                printf("%d ", receivedAdcValue);
	            }
	        }
	    }
    /* USER CODE END StartTaskPrint */
}

void Error_Handler(void)
{
  __disable_irq();
  while (1)
  {
  }
}
